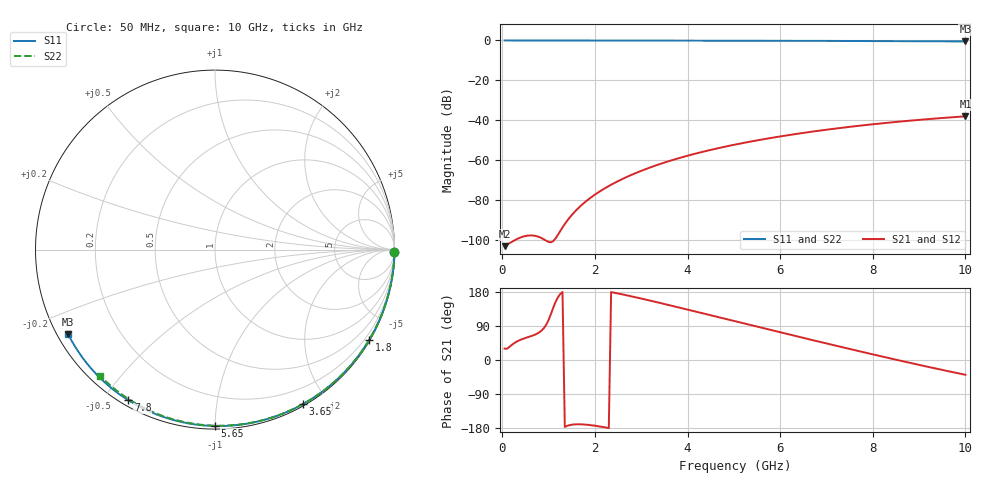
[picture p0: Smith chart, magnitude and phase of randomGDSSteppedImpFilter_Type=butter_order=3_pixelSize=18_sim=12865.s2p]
! freq	dB(S11)	phase(S11)	dB(S12)	phase(S12)
!  dB(S21)	phase(S21)	dB(S22)	phase(S22)
!S-par simulation data
#  GHz  S  DB  R 50
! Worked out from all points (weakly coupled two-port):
!   200 points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, 50 MHz to 10 GHz, reference 50 ohm
!   highest |S21| = -37.98 dB at 10 GHz (marker M1); lowest = -103.0 dB at 50 MHz (marker M2)
!   lowest |S11| = -0.5 dB at 10 GHz (marker M3), VSWR 34.81, Z = 1.54 - j13.4 ohm
!   |S11| at or under -10 dB: nowhere
!   |S22| runs from -0.4 to 0.0 dB; largest |S21 - S12| = 0
!   S11 on the Smith chart (normalised r, x): 50 MHz: open; 1.8 GHz: 0.03, -3.67; 3.65 GHz: 0.02, -1.72; 5.65 GHz: 0.02, -1.00; 7.8 GHz: 0.02, -0.58; 10 GHz: 0.03, -0.27
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0.05  -0.00 -0.9  -102.96 30.0  -102.96 30.0  -0.00 -0.8
0.85  -0.02 -14.6  -98.95 77.9  -98.95 77.9  -0.01 -12.9
1.3  -0.03 -22.1  -93.59 179.4  -93.59 179.4  -0.02 -19.7
1.75  -0.04 -29.7  -81.61 -170.1  -81.61 -170.1  -0.03 -26.3
1.8  -0.04 -30.5  -80.63 -170.5  -80.63 -170.5  -0.03 -27.1
1.85  -0.04 -31.3  -79.71 -171.1  -79.71 -171.1  -0.04 -27.8
2.15  -0.05 -36.3  -74.90 -176.3  -74.90 -176.3  -0.04 -32.2
2.35  -0.05 -39.5  -72.21 179.2  -72.21 179.2  -0.04 -35.1
2.55  -0.05 -42.8  -69.82 174.3  -69.82 174.3  -0.05 -38.0
2.95  -0.06 -49.2  -65.71 163.6  -65.71 163.6  -0.06 -43.8
3.4  -0.07 -56.3  -61.88 150.7  -61.88 150.7  -0.07 -50.1
3.65  -0.08 -60.3  -60.03 143.4  -60.03 143.4  -0.07 -53.6
4.3  -0.10 -70.2  -55.88 124.0  -55.88 124.0  -0.09 -62.6
5.05  -0.13 -81.4  -52.00 101.5  -52.00 101.5  -0.11 -72.6
5.65  -0.15 -90.1  -49.40 83.5  -49.40 83.5  -0.13 -80.4
6.15  -0.17 -97.2  -47.49 68.7  -47.49 68.7  -0.15 -86.7
6.7  -0.20 -104.9  -45.61 52.4  -45.61 52.4  -0.18 -93.6
7.25  -0.24 -112.4  -43.94 36.4  -43.94 36.4  -0.21 -100.3
7.8  -0.28 -119.9  -42.44 20.5  -42.44 20.5  -0.25 -106.8
8.35  -0.33 -127.4  -41.11 5.0  -41.11 5.0  -0.29 -113.3
9.2  -0.41 -138.9  -39.35 -18.3  -39.35 -18.3  -0.36 -123.2
10  -0.50 -150.0  -37.98 -39.0  -37.98 -39.0  -0.44 -132.4
